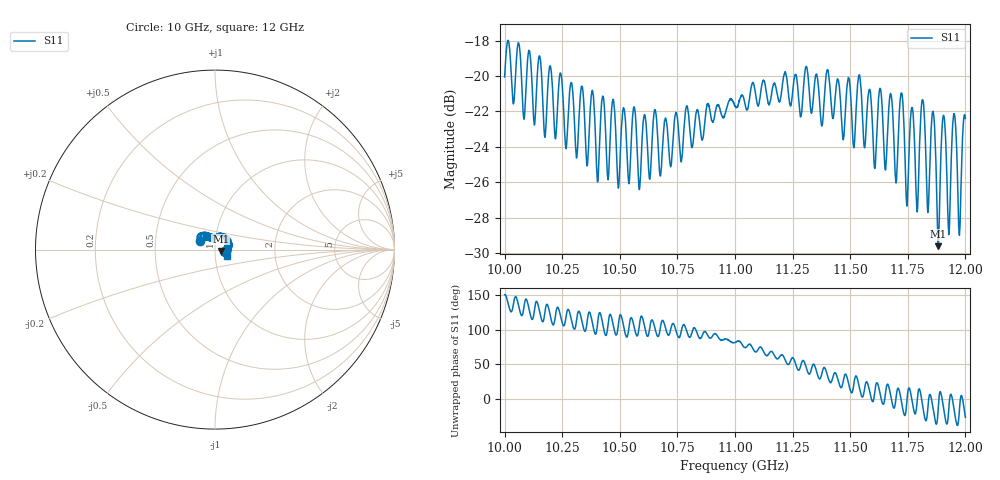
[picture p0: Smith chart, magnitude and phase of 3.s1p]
[Version] 2.0
! Rohde & Schwarz Vector Network Analyzer
! Rohde-Schwarz,ZNL20-2Port,1323001220200009,1.71.1.10-23.02.1.238
! Port Assignments:
! Nominal Port -> Actual Test Port
!  1 -> 1
! Created: GMT 2024-09-04 11:58:33
# Hz S DB R 50
[Number of Ports] 1
! freq[Hz]  S11[mag dB]  S11[ang]
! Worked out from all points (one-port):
!   2001 points, 10 GHz to 12 GHz, reference 50 ohm
!   lowest |S11| = -29.6 dB at 11.88 GHz (marker M1), VSWR 1.07, Z = 53.3 - j0.851 ohm
!   |S11| at or under -10 dB: start of sweep to end of sweep
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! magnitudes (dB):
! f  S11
! 10 GHz  -20.1
! 10.25 GHz  -20.5
! 10.38 GHz  -20.8
! 10.4 GHz  -26.0
! 10.47 GHz  -21.3
! 10.5 GHz  -25.1
! 10.75 GHz  -22.4
! 11 GHz  -21.7
! 11.25 GHz  -20.9
! 11.5 GHz  -20.7
! 11.61 GHz  -25.2
! 11.63 GHz  -20.7
! 11.65 GHz  -25.3
! 11.68 GHz  -21.0
! 11.7 GHz  -26.0
! 11.72 GHz  -21.0
! 11.75 GHz  -26.4
! 11.77 GHz  -21.8
! 11.79 GHz  -27.5
! 11.81 GHz  -21.4
! 11.84 GHz  -27.7
! 11.86 GHz  -22.1
! 11.88 GHz  -29.6
! 11.9 GHz  -22.3
! 11.93 GHz  -29.0
! 11.95 GHz  -22.2
! 11.97 GHz  -29.0
! 12 GHz  -22.4
